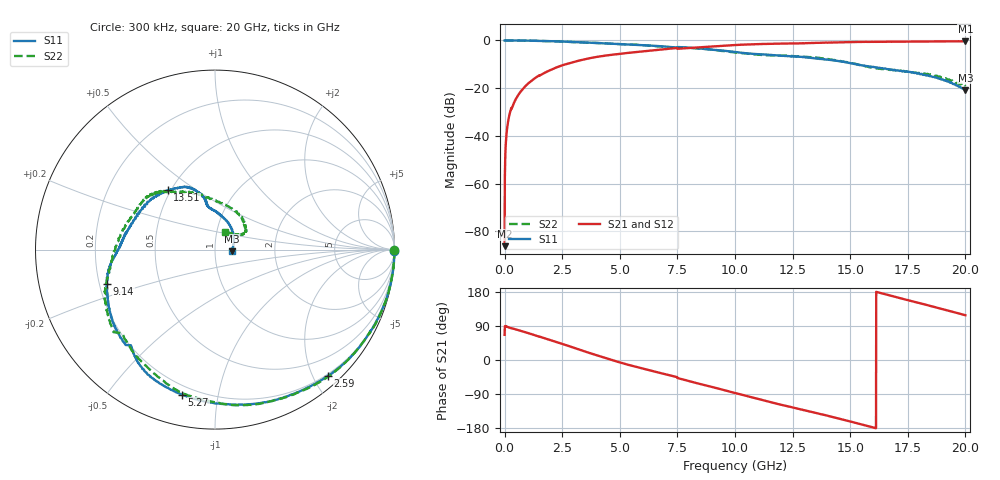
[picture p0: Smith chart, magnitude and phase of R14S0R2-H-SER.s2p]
!{R14S0R2}
!Johanson Technology Inc.
!www.johansontechnology.com
!Test Board Conditions:
!Substrate Type  RO4350B
!Substrate Thickness  20 mil
!Substrate Dk  3.66
!TL Type: GCPW
!TL Trace Width  36 mil
!TL Gap  12 mil
!Electrode orientation  Horizontal
!DUT TOPOLOGY	SERIES
!Mounting Pad LxW  26x36 mil
! Created Wed Nov 25 17:33:21 2020
! 2 Port Network Data from SP1.SP block
! freq  magS11  angS11  magS21  angS21  magS12  angS12  magS22  angS22
# khz S ma R 50
! decimated to every 10th point (10 MHz spacing) of the original 1 MHz Johanson file; values unchanged
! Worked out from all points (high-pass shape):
!   2001 points, 300 kHz to 20 GHz, reference 50 ohm
!   highest |S21| = -0.32 dB at 20 GHz (marker M1); lowest = -86.2 dB at 300 kHz (marker M2)
!   |S21| within 3 dB of the highest: 7.302 GHz to 7.495 GHz (193 MHz wide, 2.61 % of centre); 7.804 GHz to end of sweep
!   lowest |S11| = -20.7 dB at 20 GHz (marker M3), VSWR 1.20, Z = 60.1 - j1.1 ohm
!   |S11| at or under -10 dB: 15.26 GHz to end of sweep
!   |S22| runs from -19.2 to 0.0 dB; largest |S21 - S12| = 0.015
!   S11 on the Smith chart (normalised r, x): 300 kHz: open; 2.59 GHz: 0.17, -2.22; 5.27 GHz: 0.15, -0.79; 9.14 GHz: 0.23, -0.15; 13.51 GHz: 0.48, +0.39; 20 GHz: 1.20, -0.02
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300  0.9954 -0.3  4.921e-05 66.4  3.641e-05 17.7  0.9969 -0.2
110300  0.999 -2.2  0.01459 87.8  0.01464 87.6  0.9999 -2.2
130300  0.9998 -2.6  0.01729 87.3  0.01737 87.2  0.9988 -2.6
220300  0.9978 -4.4  0.02922 85.1  0.02928 85.2  0.9995 -4.4
370300  0.9984 -6.7  0.0449 82.7  0.04508 82.7  0.9987 -6.9
700300  0.9961 -12.7  0.08523 76.9  0.08543 76.9  0.9956 -12.9
1170300  0.9864 -21.5  0.1437 68.1  0.1439 68.0  0.9875 -22.0
2590300  0.9434 -48.2  0.3112 40.7  0.3113 40.6  0.9437 -50.0
3340300  0.9113 -63.5  0.3895 25.5  0.391 25.5  0.91 -65.2
4260300  0.8713 -82.4  0.4732 7.6  0.4736 7.5  0.8739 -82.4
5270300  0.8284 -102.8  0.5423 -11.0  0.5417 -10.9  0.8302 -98.8
6670300  0.7632 -124.0  0.6339 -33.0  0.6363 -32.8  0.7518 -121.0
7600300  0.725 -134.8  0.674 -49.2  0.6786 -49.2  0.7226 -142.4
9140300  0.6315 -162.2  0.759 -73.2  0.7593 -73.6  0.6307 -163.1
1.00003e7  0.5755 -174.2  0.8004 -87.1  0.8051 -87.1  0.5628 -178.9
1.16303e7  0.4933 166.2  0.8529 -112.6  0.8549 -112.8  0.4855 148.3
1.33403e7  0.429 131.7  0.884 -137.3  0.8806 -137.4  0.4416 133.9
1.35103e7  0.4227 128.7  0.8896 -139.6  0.8838 -139.9  0.4398 132.2
1.52303e7  0.3206 104.8  0.9282 -165.8  0.9227 -165.7  0.3243 106.1
1.66703e7  0.2504 99.4  0.9412 170.8  0.9454 171.6  0.248 63.9
1.87003e7  0.1668 65.1  0.953 139.2  0.9571 139.4  0.1801 28.9
2e7  0.09244 -5.6  0.9642 118.0  0.9598 118.0  0.1103 61.3
